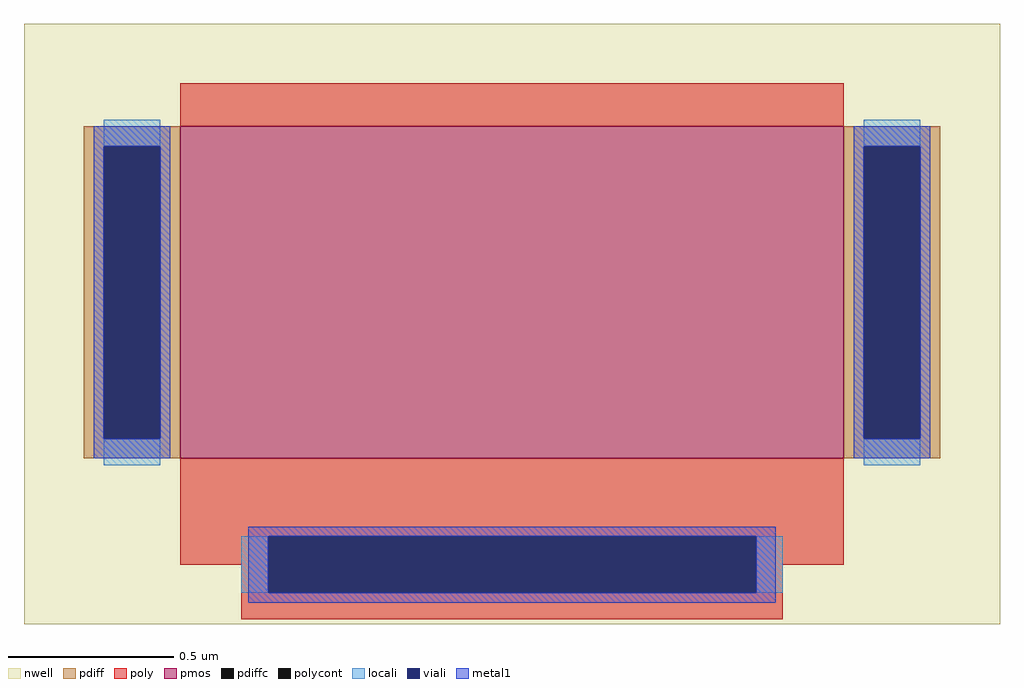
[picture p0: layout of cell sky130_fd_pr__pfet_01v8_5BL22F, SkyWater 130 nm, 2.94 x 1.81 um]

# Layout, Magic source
magic
tech sky130A
magscale 1 2
<< nwell >>
rect -294 -164 294 198
<< pmos >>
rect -200 -64 200 136
<< pdiff >>
rect -258 124 -200 136
rect -258 -52 -246 124
rect -212 -52 -200 124
rect -258 -64 -200 -52
rect 200 124 258 136
rect 200 -52 212 124
rect 246 -52 258 124
rect 200 -64 258 -52
<< pdiffc >>
rect -246 -52 -212 124
rect 212 -52 246 124
<< poly >>
rect -200 136 200 162
rect -200 -111 200 -64
rect -200 -128 -147 -111
rect -163 -145 -147 -128
rect 147 -128 200 -111
rect 147 -145 163 -128
rect -163 -161 163 -145
<< polycont >>
rect -147 -145 147 -111
<< locali >>
rect -246 124 -212 140
rect -246 -68 -212 -52
rect 212 124 246 140
rect 212 -68 246 -52
rect -163 -145 -147 -111
rect 147 -145 163 -111
<< viali >>
rect -246 -52 -212 124
rect 212 -52 246 124
rect -147 -145 147 -111
<< metal1 >>
rect -252 124 -206 136
rect -252 -52 -246 124
rect -212 -52 -206 124
rect -252 -64 -206 -52
rect 206 124 252 136
rect 206 -52 212 124
rect 246 -52 252 124
rect 206 -64 252 -52
rect -159 -111 159 -105
rect -159 -145 -147 -111
rect 147 -145 159 -111
rect -159 -151 159 -145
<< properties >>
string gencell sky130_fd_pr__pfet_01v8
string library sky130
string parameters w 1 l 2 m 1 nf 1 diffcov 100 polycov 80 guard 0 glc 1 grc 1 gtc 1 gbc 1 tbcov 100 rlcov 100 topc 0 botc 1 poverlap 0 doverlap 1 lmin 0.15 wmin 0.42 class mosfet compatible {sky130_fd_pr__pfet_01v8  sky130_fd_pr__pfet_01v8_lvt sky130_fd_pr__pfet_01v8_hvt  sky130_fd_pr__pfet_g5v0d10v5} full_metal 0 viasrc 100 viadrn 100 viagate 80 viagb 0 viagr 0 viagl 0 viagt 0
<< end >>
